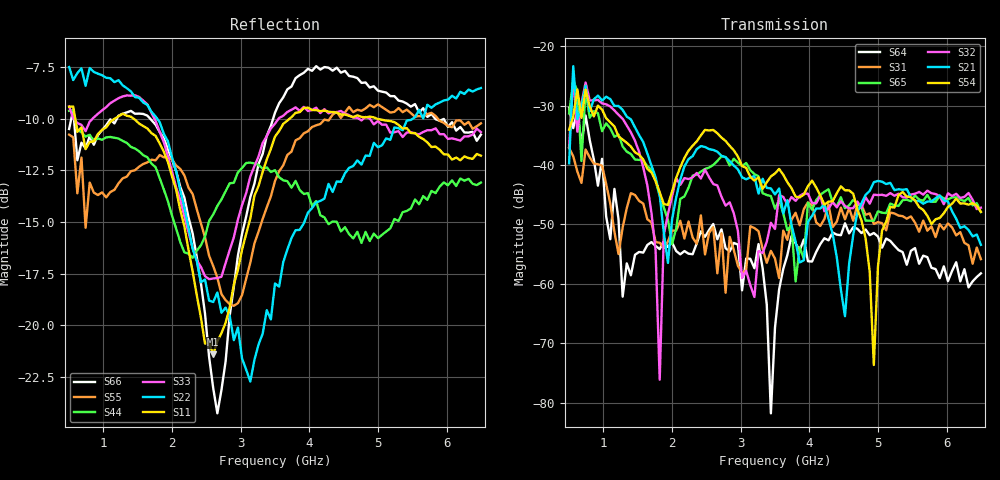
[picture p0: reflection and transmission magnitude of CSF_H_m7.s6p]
!Keysight Technologies,M9804A,MY58100912,A.14.10.03
!Date: Thursday, April 27, 2023 10:28:33
!Correction: S11(C  6-Port  )
!S12(C  6-Port  )
!S13(C  6-Port  )
!S14(C  6-Port  )
!S15(C  6-Port  )
!S16(C  6-Port  )
!S21(C  6-Port  )
!S22(C  6-Port  )
!S23(C  6-Port  )
!S24(C  6-Port  )
!S25(C  6-Port  )
!S26(C  6-Port  )
!S31(C  6-Port  )
!S32(C  6-Port  )
!S33(C  6-Port  )
!S34(C  6-Port  )
!S35(C  6-Port  )
!S36(C  6-Port  )
!S41(C  6-Port  )
!S42(C  6-Port  )
!S43(C  6-Port  )
!S44(C  6-Port  )
!S45(C  6-Port  )
!S46(C  6-Port  )
!S51(C  6-Port  )
!S52(C  6-Port  )
!S53(C  6-Port  )
!S54(C  6-Port  )
!S55(C  6-Port  )
!S56(C  6-Port  )
!S61(C  6-Port  )
!S62(C  6-Port  )
!S63(C  6-Port  )
!S64(C  6-Port  )
!S65(C  6-Port  )
!S66(C  6-Port  )
!S6P File: Measurement: :
# Hz S  RI  R 50
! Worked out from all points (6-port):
!   101 points, 500 MHz to 6.5 GHz, reference 50 ohm
!   strongest paths, dB at 500 MHz, 2 GHz, 3.5 GHz, 5 GHz, 6.5 GHz:
!     S54: -34.1, -44.5, -41.4, -57.1, -47.9
!     S21: -39.7, -49.1, -45.0, -42.7, -53.4
!     S32: -37.0, -45.3, -50.8, -45.1, -47.2
!     S65: -31.3, -53.3, -47.4, -47.8, -47.9
!     S31: -37.1, -51.0, -55.7, -49.6, -55.9
!     S64: -30.4, -53.0, -67.3, -52.0, -58.2
!   lowest |S11| = -21.4 dB at 2.6 GHz (marker M1), VSWR 1.19, Z = 42.4 + j2.19 ohm
!   |S11| at or under -10 dB: 588.8 MHz to 1.165 GHz (576.2 MHz wide, 65.7 % of centre); 1.44 GHz to 3.713 GHz (2.273 GHz wide, 88.2 % of centre); 4.986 GHz to end of sweep
